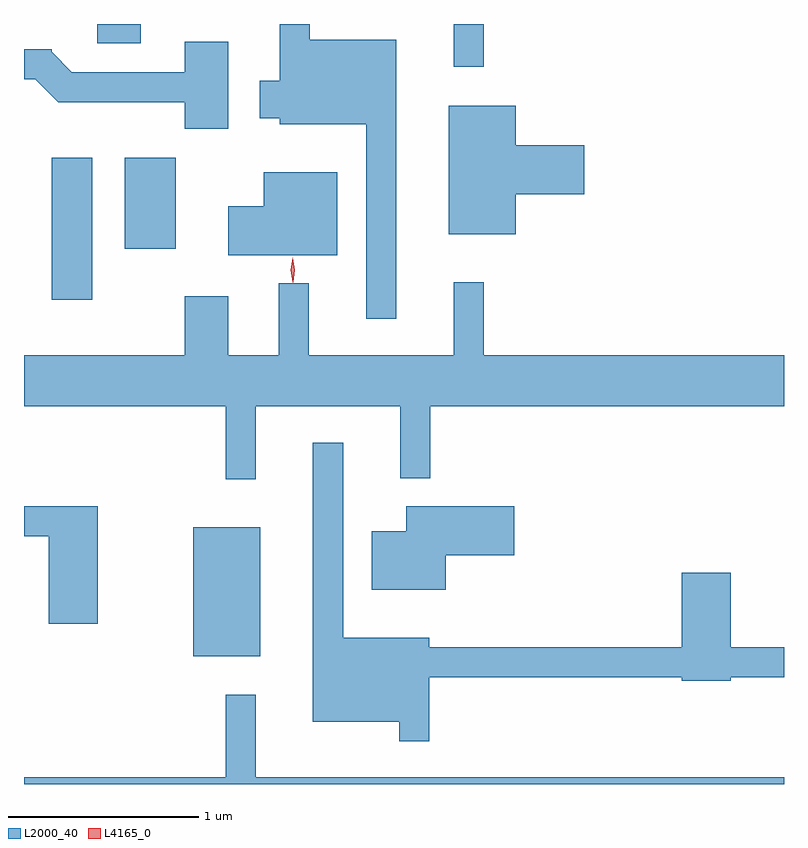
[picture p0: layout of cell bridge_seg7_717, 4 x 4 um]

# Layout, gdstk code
import gdstk
lib = gdstk.Library(unit=1e-6, precision=1e-09)
def R(c, l, rs):  # rectangles x0, y0, x1, y1
    for r in rs: c.add(gdstk.rectangle(r[:2], r[2:], *l))
def P(c, l, *ps):  # polygons
    for p in ps: c.add(gdstk.Polygon(p, *l))
L2000_40 = (2000, 40)
L4165_0 = (4165, 0)

bridge_seg7_717 = lib.new_cell('bridge_seg7_717')
R(bridge_seg7_717, L2000_40, [(537.926,1741.861,538.279,1742.539), (537.181,1743.736,537.394,1744.484), (537.566,1744.006,537.834,1744.484), (539.296,1744.963,539.454,1745.188), (537.421,1745.086,537.649,1745.188)])
P(bridge_seg7_717, L2000_40, [(538.994,1745.104),(538.539,1745.104),(538.539,1745.188),(538.381,1745.188),(538.381,1744.889),(538.276,1744.889),(538.276,1744.691),(538.381,1744.691),(538.381,1744.661),(538.836,1744.661),(538.836,1743.638),(538.994,1743.638)],
  [(538.109,1745.094),(537.881,1745.094),(537.881,1744.934),(537.287,1744.934),(537.18,1745.041),(537.18,1745.054),(537.035,1745.054),(537.035,1744.896),(537.094,1744.896),(537.214,1744.776),(537.881,1744.776),(537.881,1744.636),(538.109,1744.636)],
  [(539.624,1744.291),(539.984,1744.291),(539.984,1744.549),(539.624,1744.549),(539.624,1744.759),(539.271,1744.759),(539.271,1744.081),(539.624,1744.081)],
  [(538.684,1744.409),(538.296,1744.409),(538.296,1744.229),(538.111,1744.229),(538.111,1743.971),(538.684,1743.971)],
  [(538.254,1743.176),(539.016,1743.176),(539.016,1742.798),(539.174,1742.798),(539.174,1743.176),(541.035,1743.176),(541.035,1743.444),(539.454,1743.444),(539.454,1743.828),(539.296,1743.828),(539.296,1743.444),(538.534,1743.444),(538.534,1743.823),(538.376,1743.823),(538.376,1743.444),(538.109,1743.444),(538.109,1743.754),(537.881,1743.754),(537.881,1743.444),(537.035,1743.444),(537.035,1743.176),(538.096,1743.176),(538.096,1742.793),(538.254,1742.793)],
  [(539.169,1741.751),(540.496,1741.751),(540.496,1741.731),(540.754,1741.731),(540.754,1741.751),(541.035,1741.751),(541.035,1741.909),(540.754,1741.909),(540.754,1742.299),(540.496,1742.299),(540.496,1741.909),(539.169,1741.909),(539.169,1741.959),(538.714,1741.959),(538.714,1742.983),(538.556,1742.983),(538.556,1741.516),(539.011,1741.516),(539.011,1741.413),(539.169,1741.413)],
  [(537.424,1742.649),(537.035,1742.649),(537.035,1742.491),(537.166,1742.491),(537.166,1742.031),(537.424,1742.031)],
  [(539.254,1742.391),(539.614,1742.391),(539.614,1742.649),(539.046,1742.649),(539.046,1742.519),(538.866,1742.519),(538.866,1742.211),(539.254,1742.211)],
  [(541.035,1741.224),(538.254,1741.224),(538.254,1741.658),(538.096,1741.658),(538.096,1741.224),(537.035,1741.224),(537.035,1741.188),(541.035,1741.188)])
P(bridge_seg7_717, L4165_0, [(538.45,1743.828),(538.45,1743.829),(538.44,1743.894),(538.449,1743.959),(538.45,1743.959),(538.45,1743.959),(538.46,1743.894),(538.451,1743.829)])

lib.write_gds('bridge_seg7_717.gds')
